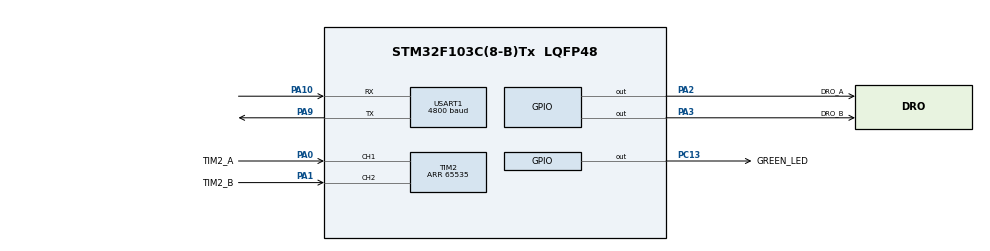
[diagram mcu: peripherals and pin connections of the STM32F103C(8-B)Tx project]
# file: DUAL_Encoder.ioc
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Mcu.Family=STM32F1
FREERTOS.Queues01=advanceQueue,10,uint16_t,0,Dynamic,NULL,NULL
PA3.GPIO_ModeDefaultOutputPP=GPIO_MODE_OUTPUT_PP
FREERTOS.Tasks01=mainTask,0,128,StartMainTask,Default,NULL,Dynamic,NULL,NULL;task_100ms,-3,128,Starttask_100ms,Default,NULL,Dynamic,NULL,NULL
NVIC.DMA1_Channel5_IRQn=true\:5\:0\:false\:false\:true\:true\:false\:true
Dma.USART1_RX.0.PeriphDataAlignment=DMA_PDATAALIGN_BYTE
PA10.Mode=Asynchronous
USART1.BaudRate=4800
USART1.WordLength=WORDLENGTH_8B
PA3.GPIO_PuPd=GPIO_NOPULL
PA2.GPIO_Speed=GPIO_SPEED_FREQ_LOW
PC13-TAMPER-RTC.Signal=GPIO_Output
NVIC.TIM1_UP_IRQn=true\:0\:0\:false\:false\:true\:false\:false\:true
PA3.GPIO_Speed=GPIO_SPEED_FREQ_LOW
ProjectManager.StackSize=0x400
PA0-WKUP.GPIO_Label=TIM2_A
PA0-WKUP.Signal=S_TIM2_CH1_ETR
PA13.Signal=SYS_JTMS-SWDIO
SH.S_TIM2_CH2.0=TIM2_CH2,Encoder_Interface
PA9.Mode=Asynchronous
ProjectManager.TargetToolchain=STM32CubeIDE
Dma.USART1_RX.0.Direction=DMA_PERIPH_TO_MEMORY
PA9.Signal=USART1_TX
PA1.Signal=S_TIM2_CH2
Dma.USART1_RX.0.PeriphInc=DMA_PINC_DISABLE
Dma.USART1_RX.0.Priority=DMA_PRIORITY_LOW
board=custom
PC13-TAMPER-RTC.GPIO_Label=GREEN_LED
RCC.APB2Freq_Value=8000000
USART1.Mode=MODE_RX
PA14.Mode=Serial_Wire
VP_SYS_VS_tim1.Mode=TIM1
PA1.GPIO_Label=TIM2_B
Dma.USART1_RX.0.MemDataAlignment=DMA_MDATAALIGN_BYTE
TIM2.Period=65535
VP_FREERTOS_VS_CMSIS_V1.Mode=CMSIS_V1
Dma.USART1_RX.0.MemInc=DMA_MINC_ENABLE
PA13.Mode=Serial_Wire
Mcu.Name=STM32F103C(8-B)Tx
PA2.Signal=GPIO_Output
Mcu.Package=LQFP48
NVIC.TimeBase=TIM1_UP_IRQn
PA2.GPIO_ModeDefaultOutputPP=GPIO_MODE_OUTPUT_PP
USART1.VirtualMode=VM_ASYNC
PA2.GPIO_Label=DRO_A
SH.S_TIM2_CH1_ETR.0=TIM2_CH1,Encoder_Interface
NVIC.TimeBaseIP=TIM1
PA10.Signal=USART1_RX
PA14.Signal=SYS_JTCK-SWCLK
ProjectManager.HeapSize=0x200
NVIC.PriorityGroup=NVIC_PRIORITYGROUP_4
Dma.USART1_RX.0.Mode=DMA_NORMAL
Dma.Request0=USART1_RX
RCC.APB1Freq_Value=8000000
Dma.USART1_RX.0.Instance=DMA1_Channel5
PA3.GPIO_Label=DRO_B
PA3.Signal=GPIO_Output

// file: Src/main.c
/* USER CODE BEGIN Header */
/**
 ******************************************************************************
 * @file           : main.c
 * @brief          : Main program body
 ******************************************************************************
 *
 * STM32f103 Cube MX project under FreeRTOS
 * DUAL_Encoder
 * Add result of a glass scale with a capacitive quill encoder result
 * and send it as quadrature A/B signal to a DRO
 *
 * @attention
 *
 * <h2><center>&copy; Copyright (c) 2020 STMicroelectronics.
 * All rights reserved.</center></h2>
 *
 * This software component is licensed by ST under BSD 3-Clause license,
 * the "License"; You may not use this file except in compliance with the
 * License. You may obtain a copy of the License at:
 *                        opensource.org/licenses/BSD-3-Clause
 *
 ******************************************************************************
 */
/* USER CODE END Header */

#include "main.h"
#include "cmsis_os.h"

/* USER CODE BEGIN PD */

#define NROFSCALEBYTES 9	// Number of bytes sent by Quill-scale
#define ENCODERRESOLUTION 5	// 5 micrometer  Z-encoder resolution
#define	DRORESOLUTION	5	// 5 micrometer DRO input resolution

/* USER CODE END PD */

/* USER CODE BEGIN PM */
#define sign(cnt) 	((cnt<0)?-1:1)
#define abs(cnt)	((cnt<0)?-1*cnt:cnt)
/* USER CODE END PM */

TIM_HandleTypeDef htim2;

UART_HandleTypeDef huart1;
DMA_HandleTypeDef hdma_usart1_rx;

osThreadId mainTaskHandle;
osThreadId task_100msHandle;
osMessageQId advanceQueueHandle;
/* USER CODE BEGIN PV */

int32_t previousQuillHeight = 0;
int32_t previousZHeight = 0;

_Bool A[4] = { pdFALSE, pdTRUE, pdTRUE, pdFALSE };
_Bool B[4] = { pdFALSE, pdFALSE, pdTRUE, pdTRUE };

/* USER CODE END PV */

void SystemClock_Config(void);
static void MX_GPIO_Init(void);
static void MX_DMA_Init(void);
static void MX_TIM2_Init(void);
static void MX_USART1_UART_Init(void);
void StartMainTask(void const * argument);
void Starttask_100ms(void const * argument);

/* USER CODE BEGIN PFP */

int32_t quill2Micro();
int32_t metric2Micro();
int32_t imperial2Micro();
void Quadrature(int16_t advance);
/* USER CODE END PFP */

/* USER CODE BEGIN 0 */

uint8_t QuillScale_data[NROFSCALEBYTES];

/* USER CODE END 0 */

int main(void)
{

  /* MCU Configuration--------------------------------------------------------*/

  /* Reset of all peripherals, Initializes the Flash interface and the Systick. */
  HAL_Init();

  /* Configure the system clock */
  SystemClock_Config();

  /* Initialize all configured peripherals */
  MX_GPIO_Init();
  MX_DMA_Init();
  MX_TIM2_Init();
  MX_USART1_UART_Init();

  /* Create the queue(s) */
  /* definition and creation of advanceQueue */
  osMessageQDef(advanceQueue, 10, uint16_t);
  advanceQueueHandle = osMessageCreate(osMessageQ(advanceQueue), NULL);

  /* Create the thread(s) */
  /* definition and creation of mainTask */
  osThreadDef(mainTask, StartMainTask, osPriorityNormal, 0, 128);
  mainTaskHandle = osThreadCreate(osThread(mainTask), NULL);

  /* definition and creation of task_100ms */
  osThreadDef(task_100ms, Starttask_100ms, osPriorityIdle, 0, 128);
  task_100msHandle = osThreadCreate(osThread(task_100ms), NULL);

  /* USER CODE BEGIN RTOS_THREADS */
	/* add threads, ... */
	HAL_UART_Receive(&huart1, QuillScale_data, sizeof(QuillScale_data), 100);
	HAL_UART_Receive_DMA(&huart1, QuillScale_data, sizeof(QuillScale_data));
  /* USER CODE END RTOS_THREADS */

  /* Start scheduler */
  osKernelStart();

  /* We should never get here as control is now taken by the scheduler */
  /* Infinite loop */
	while (1) {

	}
}

void SystemClock_Config(void)
{
  RCC_OscInitTypeDef RCC_OscInitStruct = {0};
  RCC_ClkInitTypeDef RCC_ClkInitStruct = {0};

  /** Initializes the CPU, AHB and APB busses clocks
  */
  RCC_OscInitStruct.OscillatorType = RCC_OSCILLATORTYPE_HSI;
  RCC_OscInitStruct.HSIState = RCC_HSI_ON;
  RCC_OscInitStruct.HSICalibrationValue = RCC_HSICALIBRATION_DEFAULT;
  RCC_OscInitStruct.PLL.PLLState = RCC_PLL_NONE;
  if (HAL_RCC_OscConfig(&RCC_OscInitStruct) != HAL_OK)
  {
    Error_Handler();
  }
  /** Initializes the CPU, AHB and APB busses clocks
  */
  RCC_ClkInitStruct.ClockType = RCC_CLOCKTYPE_HCLK|RCC_CLOCKTYPE_SYSCLK
                              |RCC_CLOCKTYPE_PCLK1|RCC_CLOCKTYPE_PCLK2;
  RCC_ClkInitStruct.SYSCLKSource = RCC_SYSCLKSOURCE_HSI;
  RCC_ClkInitStruct.AHBCLKDivider = RCC_SYSCLK_DIV1;
  RCC_ClkInitStruct.APB1CLKDivider = RCC_HCLK_DIV1;
  RCC_ClkInitStruct.APB2CLKDivider = RCC_HCLK_DIV1;

  if (HAL_RCC_ClockConfig(&RCC_ClkInitStruct, FLASH_LATENCY_0) != HAL_OK)
  {
    Error_Handler();
  }
}

static void MX_TIM2_Init(void)
{

  TIM_Encoder_InitTypeDef sConfig = {0};
  TIM_MasterConfigTypeDef sMasterConfig = {0};

  htim2.Instance = TIM2;
  htim2.Init.Prescaler = 0;
  htim2.Init.CounterMode = TIM_COUNTERMODE_UP;
  htim2.Init.Period = 65535;
  htim2.Init.ClockDivision = TIM_CLOCKDIVISION_DIV1;
  htim2.Init.AutoReloadPreload = TIM_AUTORELOAD_PRELOAD_DISABLE;
  sConfig.EncoderMode = TIM_ENCODERMODE_TI1;
  sConfig.IC1Polarity = TIM_ICPOLARITY_RISING;
  sConfig.IC1Selection = TIM_ICSELECTION_DIRECTTI;
  sConfig.IC1Prescaler = TIM_ICPSC_DIV1;
  sConfig.IC1Filter = 0;
  sConfig.IC2Polarity = TIM_ICPOLARITY_RISING;
  sConfig.IC2Selection = TIM_ICSELECTION_DIRECTTI;
  sConfig.IC2Prescaler = TIM_ICPSC_DIV1;
  sConfig.IC2Filter = 0;
  if (HAL_TIM_Encoder_Init(&htim2, &sConfig) != HAL_OK)
  {
    Error_Handler();
  }
  sMasterConfig.MasterOutputTrigger = TIM_TRGO_RESET;
  sMasterConfig.MasterSlaveMode = TIM_MASTERSLAVEMODE_DISABLE;
  if (HAL_TIMEx_MasterConfigSynchronization(&htim2, &sMasterConfig) != HAL_OK)
  {
    Error_Handler();
  }

}

static void MX_USART1_UART_Init(void)
{

  huart1.Instance = USART1;
  huart1.Init.BaudRate = 4800;
  huart1.Init.WordLength = UART_WORDLENGTH_8B;
  huart1.Init.StopBits = UART_STOPBITS_1;
  huart1.Init.Parity = UART_PARITY_NONE;
  huart1.Init.Mode = UART_MODE_RX;
  huart1.Init.HwFlowCtl = UART_HWCONTROL_NONE;
  huart1.Init.OverSampling = UART_OVERSAMPLING_16;
  if (HAL_UART_Init(&huart1) != HAL_OK)
  {
    Error_Handler();
  }

}

static void MX_DMA_Init(void)
{

  /* DMA controller clock enable */
  __HAL_RCC_DMA1_CLK_ENABLE();

  /* DMA interrupt init */
  /* DMA1_Channel5_IRQn interrupt configuration */
  HAL_NVIC_SetPriority(DMA1_Channel5_IRQn, 5, 0);
  HAL_NVIC_EnableIRQ(DMA1_Channel5_IRQn);

}

static void MX_GPIO_Init(void)
{
  GPIO_InitTypeDef GPIO_InitStruct = {0};

  /* GPIO Ports Clock Enable */
  __HAL_RCC_GPIOC_CLK_ENABLE();
  __HAL_RCC_GPIOA_CLK_ENABLE();

  /*Configure GPIO pin Output Level */
  HAL_GPIO_WritePin(GREEN_LED_GPIO_Port, GREEN_LED_Pin, GPIO_PIN_RESET);

  /*Configure GPIO pin Output Level */
  HAL_GPIO_WritePin(GPIOA, DRO_A_Pin|DRO_B_Pin, GPIO_PIN_RESET);

  /*Configure GPIO pin : GREEN_LED_Pin */
  GPIO_InitStruct.Pin = GREEN_LED_Pin;
  GPIO_InitStruct.Mode = GPIO_MODE_OUTPUT_PP;
  GPIO_InitStruct.Pull = GPIO_NOPULL;
  GPIO_InitStruct.Speed = GPIO_SPEED_FREQ_LOW;
  HAL_GPIO_Init(GREEN_LED_GPIO_Port, &GPIO_InitStruct);

  /*Configure GPIO pins : DRO_A_Pin DRO_B_Pin */
  GPIO_InitStruct.Pin = DRO_A_Pin|DRO_B_Pin;
  GPIO_InitStruct.Mode = GPIO_MODE_OUTPUT_PP;
  GPIO_InitStruct.Pull = GPIO_NOPULL;
  GPIO_InitStruct.Speed = GPIO_SPEED_FREQ_LOW;
  HAL_GPIO_Init(GPIOA, &GPIO_InitStruct);

}

/* USER CODE BEGIN 4 */

// QuillScale  message complete.
/**
  * @brief HAL_UART_RxCpltCallback Function
  * @note  9 bytes are received from QUILL Encoder UART
  * convert to micrometers
  * send Diff to advanceQueue
  * @param uart-handle
  * @retval None
  */
void HAL_UART_RxCpltCallback(UART_HandleTypeDef *huart1) {
	int32_t QuillHeight;

	QuillHeight = quill2Micro();
	int32_t Diff = previousQuillHeight - QuillHeight;
    if (Diff!=0){
    	osMessagePut(advanceQueueHandle, Diff, 0);
    }
	previousQuillHeight = QuillHeight;
	HAL_UART_Receive_DMA(huart1, QuillScale_data, sizeof(QuillScale_data));

}

int32_t metric2Micro() {
	int32_t Q = (QuillScale_data[1] - '0') * 1000000;
	Q += (QuillScale_data[2] - '0') * 100000;
	Q += (QuillScale_data[3] - '0') * 10000;
	Q += (QuillScale_data[4] - '0') * 1000;
	Q += (QuillScale_data[6] - '0') * 100;
	Q += (QuillScale_data[7] - '0') * 10;
	Q *= (QuillScale_data[0] == '-') ? -1 : 1;
	return Q;

}

int32_t imperial2Micro() {
	int32_t Q = (QuillScale_data[1] - '0') * 10000000;
	Q += (QuillScale_data[2] - '0') * 1000000;
	Q += (QuillScale_data[4] - '0') * 100000;
	Q += (QuillScale_data[5] - '0') * 10000;
	Q += (QuillScale_data[6] - '0') * 1000;
	Q += (QuillScale_data[7] - '0') * 100;
	Q *= ((QuillScale_data[0] == '-') ? -1 : 1) * 254;
	Q /= 10000;
	return Q;

}

int32_t quill2Micro() {
	if (QuillScale_data[5] == '.')
		return metric2Micro();
	if (QuillScale_data[3] == '.')
		return imperial2Micro();
	else
		return previousQuillHeight;

}

/**
 * @brief  Function generating an A/B quadrature signal
 * @param  argument: the number of (um) pulses it needs to give
 * @retval None
 */
void Quadrature(int16_t count) {
	static uint8_t index = 0;
	int8_t dir = sign(count);
	// send AB signals
	for (uint16_t counter = 0; counter < abs(count/DRORESOLUTION); counter++) {
		index += dir;
		index &= 0x3;
		HAL_GPIO_WritePin(GPIOA, DRO_A_Pin,
				A[index] ? GPIO_PIN_SET : GPIO_PIN_RESET);
		HAL_GPIO_WritePin(GPIOA, DRO_B_Pin,
				B[index] ? GPIO_PIN_SET : GPIO_PIN_RESET);
	}

}

void HAL_UART_ErrorCallback(UART_HandleTypeDef *huart) {
	__NOP();
}

/* USER CODE END 4 */

void StartMainTask(void const * argument)
{
  /* USER CODE BEGIN 5 */
	/* Infinite loop */
	for (;;) {
		osEvent Event = osMessageGet(advanceQueueHandle, 0);
		if (Event.status == osEventMessage) {
			int16_t Advance = (int16_t) (void*) Event.value.p;
			Quadrature(Advance);		}
		osDelay(1);
	}
  /* USER CODE END 5 */
}

/* USER CODE BEGIN Header_Starttask_100ms */
/**
* @brief Function implementing the task_100ms thread.
* @note  poll TIM2->CNT (= Z-encoder)
* send Diff to advance-Queue
* @param argument: Not used
* @retval None
*/
/* USER CODE END Header_Starttask_100ms */
void Starttask_100ms(void const * argument)
{
  /* USER CODE BEGIN Starttask_100ms */
	HAL_TIM_Encoder_Start(&htim2, TIM_CHANNEL_ALL);
	/* Infinite loop */
	for (;;) {
		int16_t ZHeight = TIM2->CNT * ENCODERRESOLUTION;
		int32_t Diff = previousZHeight - ZHeight;
		if (Diff !=0){
			osMessagePut(advanceQueueHandle, Diff, 0);
		}
		previousZHeight = ZHeight;
		osDelay(100);
	}

  /* USER CODE END Starttask_100ms */
}

 /**
  * @brief  Period elapsed callback in non blocking mode
  * @note   This function is called  when TIM1 interrupt took place, inside
  * HAL_TIM_IRQHandler(). It makes a direct call to HAL_IncTick() to increment
  * a global variable "uwTick" used as application time base.
  * @param  htim : TIM handle
  * @retval None
  */
void HAL_TIM_PeriodElapsedCallback(TIM_HandleTypeDef *htim)
{
  if (htim->Instance == TIM1) {
    HAL_IncTick();
  }
}

void Error_Handler(void)
{
}

/************************ (C) COPYRIGHT STMicroelectronics *****END OF FILE****/
